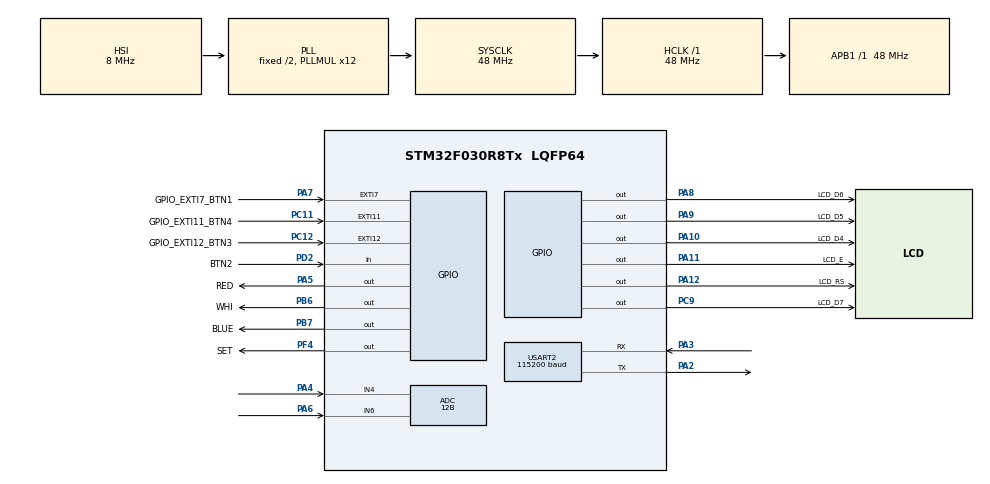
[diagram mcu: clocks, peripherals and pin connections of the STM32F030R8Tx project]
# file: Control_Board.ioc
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ADC.ClockPrescaler=ADC_CLOCK_ASYNC_DIV1
ADC.ContinuousConvMode=ENABLE
ADC.DMAContinuousRequests=ENABLE
ADC.DataAlign=ADC_DATAALIGN_RIGHT
ADC.DiscontinuousConvMode=DISABLE
ADC.EOCSelection=ADC_EOC_SINGLE_CONV
ADC.EnableAnalogWatchDog=false
ADC.ExternalTrigConv=ADC_SOFTWARE_START
ADC.ExternalTrigConvEdge=ADC_EXTERNALTRIGCONVEDGE_NONE
ADC.LowPowerAutoPowerOff=DISABLE
ADC.LowPowerAutoWait=DISABLE
ADC.Overrun=ADC_OVR_DATA_PRESERVED
ADC.Resolution=ADC_RESOLUTION_12B
ADC.SamplingTime=ADC_SAMPLETIME_239CYCLES_5
ADC.ScanConvMode=ADC_SCAN_DIRECTION_FORWARD
CRC.InputDataFormat=CRC_INPUTDATA_FORMAT_WORDS
Dma.ADC.1.Direction=DMA_PERIPH_TO_MEMORY
Dma.ADC.1.Instance=DMA1_Channel1
Dma.ADC.1.MemDataAlignment=DMA_MDATAALIGN_HALFWORD
Dma.ADC.1.MemInc=DMA_MINC_ENABLE
Dma.ADC.1.Mode=DMA_CIRCULAR
Dma.ADC.1.PeriphDataAlignment=DMA_PDATAALIGN_HALFWORD
Dma.ADC.1.PeriphInc=DMA_PINC_DISABLE
Dma.ADC.1.Priority=DMA_PRIORITY_LOW
Dma.Request0=USART2_RX
Dma.Request1=ADC
Dma.USART2_RX.0.Direction=DMA_PERIPH_TO_MEMORY
Dma.USART2_RX.0.Instance=DMA1_Channel5
Dma.USART2_RX.0.MemDataAlignment=DMA_MDATAALIGN_BYTE
Dma.USART2_RX.0.MemInc=DMA_MINC_ENABLE
Dma.USART2_RX.0.Mode=DMA_CIRCULAR
Dma.USART2_RX.0.PeriphDataAlignment=DMA_PDATAALIGN_BYTE
Dma.USART2_RX.0.PeriphInc=DMA_PINC_DISABLE
Dma.USART2_RX.0.Priority=DMA_PRIORITY_LOW
FREERTOS.Tasks01=MainTask,0,128,StartMainTask,Default
Mcu.Family=STM32F0
Mcu.Name=STM32F030R8Tx
Mcu.Package=LQFP64
NVIC.ADC1_IRQn=true\:3\:0\:false\:false\:true\:true\:true
NVIC.DMA1_Channel1_IRQn=true\:3\:0\:false\:false\:true\:true\:true
NVIC.DMA1_Channel4_5_IRQn=true\:3\:0\:false\:false\:true\:true\:true
NVIC.TIM17_IRQn=true\:0\:0\:false\:false\:true\:false\:true
NVIC.TimeBase=TIM17_IRQn
NVIC.TimeBaseIP=TIM17
NVIC.USART2_IRQn=true\:3\:0\:false\:false\:true\:true\:true
PA10.GPIO_Label=LCD_D4
PA10.Signal=GPIO_Output
PA11.GPIO_Label=LCD_E
PA11.Signal=GPIO_Output
PA12.GPIO_Label=LCD_RS
PA12.Signal=GPIO_Output
PA13.Mode=Serial_Wire
PA13.Signal=SYS_SWDIO
PA14.Mode=Serial_Wire
PA14.Signal=SYS_SWCLK
PA2.Mode=Asynchronous
PA2.Signal=USART2_TX
PA3.Mode=Asynchronous
PA3.Signal=USART2_RX
PA4.Mode=IN4
PA4.Signal=ADC_IN4
PA5.GPIO_Label=RED
PA5.Signal=GPIO_Output
PA6.Mode=IN6
PA6.Signal=ADC_IN6
PA7.GPIO_Label=GPIO_EXTI7_BTN1
PA7.Signal=GPXTI7
PA8.GPIO_Label=LCD_D6
PA8.Signal=GPIO_Output
PA9.GPIO_Label=LCD_D5
PA9.Signal=GPIO_Output
PB6.GPIO_Label=WHI
PB6.Signal=GPIO_Output
PB7.GPIO_Label=BLUE
PB7.Signal=GPIO_Output
PC11.GPIO_Label=GPIO_EXTI11_BTN4
PC11.Signal=GPXTI11
PC12.GPIO_Label=GPIO_EXTI12_BTN3
PC12.Signal=GPXTI12
PC9.GPIO_Label=LCD_D7
PC9.Signal=GPIO_Output
PD2.GPIO_Label=BTN2
PD2.Signal=GPIO_Input
PF0-OSC_IN.Mode=HSE-External-Oscillator
PF0-OSC_IN.Signal=RCC_OSC_IN
PF1-OSC_OUT.Mode=HSE-External-Oscillator
PF1-OSC_OUT.Signal=RCC_OSC_OUT
PF4.GPIO_Label=SET
PF4.Signal=GPIO_Output
ProjectManager.HeapSize=0x200
ProjectManager.StackSize=0x400
ProjectManager.TargetToolchain=SW4STM32
RCC.AHBFreq_Value=48000000
RCC.APB1Freq_Value=48000000
RCC.APB1TimFreq_Value=48000000
RCC.HCLKFreq_Value=48000000
RCC.PLLMUL=RCC_PLL_MUL12
RCC.SYSCLKFreq_VALUE=48000000
RCC.SYSCLKSource=RCC_SYSCLKSOURCE_PLLCLK
USART2.BaudRate=115200
USART2.VirtualMode-Asynchronous=VM_ASYNC
VP_CRC_VS_CRC.Mode=CRC_Activate
VP_FREERTOS_VS_ENABLE.Mode=Enabled
VP_SYS_VS_tim17.Mode=TIM17
board=Control_Board

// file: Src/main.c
/**
  ******************************************************************************
  * File Name          : main.c
  * Description        : Main program body
  ******************************************************************************
  *
  * Copyright (c) 2017 STMicroelectronics International N.V.
  * All rights reserved.
  *
  * Redistribution and use in source and binary forms, with or without
  * modification, are permitted, provided that the following conditions are met:
  *
  * 1. Redistribution of source code must retain the above copyright notice,
  *    this list of conditions and the following disclaimer.
  * 2. Redistributions in binary form must reproduce the above copyright notice,
  *    this list of conditions and the following disclaimer in the documentation
  *    and/or other materials provided with the distribution.
  * 3. Neither the name of STMicroelectronics nor the names of other
  *    contributors to this software may be used to endorse or promote products
  *    derived from this software without specific written permission.
  * 4. This software, including modifications and/or derivative works of this
  *    software, must execute solely and exclusively on microcontroller or
  *    microprocessor devices manufactured by or for STMicroelectronics.
  * 5. Redistribution and use of this software other than as permitted under
  *    this license is void and will automatically terminate your rights under
  *    this license.
  *
  * THIS SOFTWARE IS PROVIDED BY STMICROELECTRONICS AND CONTRIBUTORS "AS IS"
  * AND ANY EXPRESS, IMPLIED OR STATUTORY WARRANTIES, INCLUDING, BUT NOT
  * LIMITED TO, THE IMPLIED WARRANTIES OF MERCHANTABILITY, FITNESS FOR A
  * PARTICULAR PURPOSE AND NON-INFRINGEMENT OF THIRD PARTY INTELLECTUAL PROPERTY
  * RIGHTS ARE DISCLAIMED TO THE FULLEST EXTENT PERMITTED BY LAW. IN NO EVENT
  * SHALL STMICROELECTRONICS OR CONTRIBUTORS BE LIABLE FOR ANY DIRECT, INDIRECT,
  * INCIDENTAL, SPECIAL, EXEMPLARY, OR CONSEQUENTIAL DAMAGES (INCLUDING, BUT NOT
  * LIMITED TO, PROCUREMENT OF SUBSTITUTE GOODS OR SERVICES; LOSS OF USE, DATA,
  * OR PROFITS; OR BUSINESS INTERRUPTION) HOWEVER CAUSED AND ON ANY THEORY OF
  * LIABILITY, WHETHER IN CONTRACT, STRICT LIABILITY, OR TORT (INCLUDING
  * NEGLIGENCE OR OTHERWISE) ARISING IN ANY WAY OUT OF THE USE OF THIS SOFTWARE,
  * EVEN IF ADVISED OF THE POSSIBILITY OF SUCH DAMAGE.
  *
  ******************************************************************************
  */
#include "main.h"
#include "stm32f0xx_hal.h"
#include "cmsis_os.h"
#include "adc.h"
#include "crc.h"
#include "dma.h"
#include "usart.h"
#include "gpio.h"

/* USER CODE BEGIN Includes */
//LCD display library
#include "My_code/tm_stm32_hd44780.h"
/* USER CODE END Includes */

/* USER CODE BEGIN PV */
/* Private variables ---------------------------------------------------------*/

//frame buffer for USART DMA
union FrameBuffer{
	char byte[76];
	uint32_t word[19];
};

//Custom Caracter for LCD display
uint8_t customChar[] = {
	0x1F,	/*  xxx 11111 */
	0x11,	/*  xxx 10001 */
	0x11,	/*  xxx 10001 */
	0x11,	/*  xxx 10001 */
	0x11,	/*  xxx 10001 */
	0x11,	/*  xxx 10001 */
	0x11,	/*  xxx 10001 */
	0x1F	/*  xxx 11111 */
};

volatile union FrameBuffer FrameBuffer;
volatile union InputFrame InputFrame;

volatile char Input_Buffer[40] = {0};
volatile uint8_t Input_Buffer_counter=0;

volatile uint8_t TransmissionError = 0;

extern ADC_HandleTypeDef hadc;

//volatile uint16_t ADC_read[4] = {0};

volatile union ADC_read{
	struct Axis{
		uint16_t X_axis;
		uint16_t Y_axis;
	}Axis;
	uint16_t XY_Axis[2];
};

uint8_t Run_communication = 0;
uint8_t comm_running = 0;
uint8_t timeout_counter = 0;
volatile uint8_t timeout_event = 0;

/* USER CODE END PV */

void SystemClock_Config(void);
void Error_Handler(void);
void MX_FREERTOS_Init(void);

/* USER CODE BEGIN PFP */
/* Private function prototypes -----------------------------------------------*/
void HD44780_Init(void);

/* USER CODE END PFP */

int main(void)
{

  /* USER CODE BEGIN 1 */
	union ADC_read XY_Axis;

  /* USER CODE END 1 */

  /* MCU Configuration----------------------------------------------------------*/

  /* Reset of all peripherals, Initializes the Flash interface and the Systick. */
  HAL_Init();

  /* Configure the system clock */
  SystemClock_Config();

  /* Initialize all configured peripherals */
  MX_GPIO_Init();
  MX_DMA_Init();
  MX_CRC_Init();
  MX_USART2_UART_Init();
  MX_ADC_Init();

  /* USER CODE BEGIN 2 */
  Timeout_TIM16_Init();
  //configure DMA for USART2 Rx
	hdma_usart2_rx.Instance = DMA1_Channel5;
	hdma_usart2_rx.Init.Direction = DMA_PERIPH_TO_MEMORY;
	hdma_usart2_rx.Init.PeriphInc = DMA_PINC_DISABLE;
	hdma_usart2_rx.Init.MemInc = DMA_MINC_ENABLE;
	hdma_usart2_rx.Init.PeriphDataAlignment = DMA_PDATAALIGN_BYTE;
	hdma_usart2_rx.Init.MemDataAlignment = DMA_MDATAALIGN_BYTE;
	hdma_usart2_rx.Init.Mode = DMA_CIRCULAR;
	hdma_usart2_rx.Init.Priority = DMA_PRIORITY_LOW; // in future check if needs to be changed
	HAL_DMA_Init(&hdma_usart2_rx);

	// required link function
	__HAL_LINKDMA(&huart2, hdmarx, hdma_usart2_rx);
	HAL_UART_Receive_DMA(&huart2, &InputFrame.byte, 8);

  //launch UART receive
  //HAL_UART_Receive_IT(&huart2,InputFrame.byte,8);

  char znak = 33;
  int i=0;

  for(i=0; i<72; i++)
  {
	  FrameBuffer.byte[i]=znak;
	  znak++;
  }

  CRC->CR |= CRC_CR_RESET;
  for(i=0; i<18; i++)
  {
	  CRC->DR = FrameBuffer.word[i];
  }

  uint32_t crc = CRC->DR;
  FrameBuffer.word[18]=crc;

  //HAL_UART_Transmit(&huart2,FrameBuffer.word,8,5000);
  TIM16->CR1 |= TIM_CR1_CEN;
  uint8_t counter = 0;
  uint8_t message_counter = 0;

 // HAL_ADC_Start_IT for two ADC channels
  HAL_ADC_Start_DMA(&hadc,(uint32_t *)XY_Axis.XY_Axis,2);
  //HAL_ADC_Start(&hadc);

  HD44780_Init();

  /* USER CODE END 2 */

  /* Call init function for freertos objects (in freertos.c) */
  MX_FREERTOS_Init();

  /* Start scheduler */
  osKernelStart();

  /* We should never get here as control is now taken by the scheduler */

  /* Infinite loop */
  /* USER CODE BEGIN WHILE */
  while (1)
  {
	 // HAL_Delay(200);
	  //uint16_t dummy[4];
	  //dummy[0]=ADC_read[0];
	  //dummy[1]=ADC_read[1];
	  //dummy[2]=ADC_read[2];
	  //dummy[3]=ADC_read[3];
	  //HAL_Delay(400);
	  //HAL_UART_Transmit(&huart2,dummy,8,5000);
	 // char end[2] = {'\r','\n'};
	  //HAL_UART_Transmit(&huart2,end,2,5000);
  /* USER CODE END WHILE */

  /* USER CODE BEGIN 3 */
//	  if(!HAL_GPIO_ReadPin(GPIOC, GPIO_PIN_13))
//	  {
//		  counter++;
//		  if(counter > 12)
//		  {
//			  if(1 == message_counter) // second message will be faulty
//			  {
//				  HAL_UART_Transmit(&huart2,FrameBuffer.word,75,5000);
//			  }
//			  else
//			  {
//				  HAL_UART_Transmit(&huart2,FrameBuffer.word,76,5000);
//				  counter=0;
//				  if(4 == message_counter)
//				  {
//					  message_counter = 0;
//				  }
//			  }
//			  message_counter++;
//			  //now play dead
//			  HAL_Delay(230);
//		  }
//	  }
//	  else
//	  {
//		  counter=0;
//	  }
//	  if(10 == message_counter)
//	  {
//		  HAL_UART_Transmit(&huart2,FrameBuffer.word,72,5000);
//	  }
//	  else
//	  {
//		  if(1 == TransmissionError)
//		  {
//			  HAL_Delay(250);
//			  TransmissionError = 0;
//		  }
//		  HAL_UART_Transmit(&huart2,FrameBuffer.word,76,5000);
//		  //counter=0;
//		  if(20 == message_counter)
//		  {
//			  message_counter = 0;
//		  }
//	  }
//	  message_counter++;
//	  HAL_Delay(10);

  }
  /* USER CODE END 3 */

}

/** System Clock Configuration
*/
void SystemClock_Config(void)
{

  RCC_OscInitTypeDef RCC_OscInitStruct;
  RCC_ClkInitTypeDef RCC_ClkInitStruct;

    /**Initializes the CPU, AHB and APB busses clocks
    */
  RCC_OscInitStruct.OscillatorType = RCC_OSCILLATORTYPE_HSI|RCC_OSCILLATORTYPE_HSI14;
  RCC_OscInitStruct.HSIState = RCC_HSI_ON;
  RCC_OscInitStruct.HSI14State = RCC_HSI14_ON;
  RCC_OscInitStruct.HSICalibrationValue = 16;
  RCC_OscInitStruct.HSI14CalibrationValue = 16;
  RCC_OscInitStruct.PLL.PLLState = RCC_PLL_ON;
  RCC_OscInitStruct.PLL.PLLSource = RCC_PLLSOURCE_HSI;
  RCC_OscInitStruct.PLL.PLLMUL = RCC_PLL_MUL12;
  RCC_OscInitStruct.PLL.PREDIV = RCC_PREDIV_DIV1;
  if (HAL_RCC_OscConfig(&RCC_OscInitStruct) != HAL_OK)
  {
    Error_Handler();
  }

    /**Initializes the CPU, AHB and APB busses clocks
    */
  RCC_ClkInitStruct.ClockType = RCC_CLOCKTYPE_HCLK|RCC_CLOCKTYPE_SYSCLK
                              |RCC_CLOCKTYPE_PCLK1;
  RCC_ClkInitStruct.SYSCLKSource = RCC_SYSCLKSOURCE_PLLCLK;
  RCC_ClkInitStruct.AHBCLKDivider = RCC_SYSCLK_DIV1;
  RCC_ClkInitStruct.APB1CLKDivider = RCC_HCLK_DIV1;

  if (HAL_RCC_ClockConfig(&RCC_ClkInitStruct, FLASH_LATENCY_1) != HAL_OK)
  {
    Error_Handler();
  }

    /**Configure the Systick interrupt time
    */
  HAL_SYSTICK_Config(HAL_RCC_GetHCLKFreq()/1000);

    /**Configure the Systick
    */
  HAL_SYSTICK_CLKSourceConfig(SYSTICK_CLKSOURCE_HCLK);

  /* SysTick_IRQn interrupt configuration */
  HAL_NVIC_SetPriority(SysTick_IRQn, 3, 0);
}

/* USER CODE BEGIN 4 */

void HD44780_Init(void)
{
	TM_HD44780_Init(20, 4);

		/* Save custom character on location 0 in LCD */
		TM_HD44780_CreateChar(0, customChar);

		/* Put string to LCD */
		TM_HD44780_Puts(0, 0, "STM32F4/7-Disco/Eval");
		TM_HD44780_Puts(2, 1, "20x4 HD44780 LCD");
		TM_HD44780_Puts(0, 2, "stm32f4-\n\r       discovery.com");

		/* Wait a little */
		//Delayms(3000);

		/* Clear LCD */
		TM_HD44780_Clear();

		/* Show cursor */
		TM_HD44780_CursorOn();

		/* Write new text */
		TM_HD44780_Puts(6, 2, "CLEARED!");

		/* Wait a little */
		//Delayms(1000);

		/* Enable cursor blinking */
		TM_HD44780_BlinkOn();

		/* Show custom character at x = 1, y = 2 from RAM location 0 */
		//TM_HD44780_PutCustom(1, 2, 0);
}

/* USER CODE END 4 */

void HAL_TIM_PeriodElapsedCallback(TIM_HandleTypeDef *htim)
{
  if (htim->Instance == TIM17) {
    HAL_IncTick();
  }
}

void Error_Handler(void)
{
  while(1)
  {
  }
}

/************************ (C) COPYRIGHT STMicroelectronics *****END OF FILE****/

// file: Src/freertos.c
/**
  ******************************************************************************
  * File Name          : freertos.c
  * Description        : Code for freertos applications
  ******************************************************************************
  *
  * Copyright (c) 2017 STMicroelectronics International N.V.
  * All rights reserved.
  *
  * Redistribution and use in source and binary forms, with or without
  * modification, are permitted, provided that the following conditions are met:
  *
  * 1. Redistribution of source code must retain the above copyright notice,
  *    this list of conditions and the following disclaimer.
  * 2. Redistributions in binary form must reproduce the above copyright notice,
  *    this list of conditions and the following disclaimer in the documentation
  *    and/or other materials provided with the distribution.
  * 3. Neither the name of STMicroelectronics nor the names of other
  *    contributors to this software may be used to endorse or promote products
  *    derived from this software without specific written permission.
  * 4. This software, including modifications and/or derivative works of this
  *    software, must execute solely and exclusively on microcontroller or
  *    microprocessor devices manufactured by or for STMicroelectronics.
  * 5. Redistribution and use of this software other than as permitted under
  *    this license is void and will automatically terminate your rights under
  *    this license.
  *
  * THIS SOFTWARE IS PROVIDED BY STMICROELECTRONICS AND CONTRIBUTORS "AS IS"
  * AND ANY EXPRESS, IMPLIED OR STATUTORY WARRANTIES, INCLUDING, BUT NOT
  * LIMITED TO, THE IMPLIED WARRANTIES OF MERCHANTABILITY, FITNESS FOR A
  * PARTICULAR PURPOSE AND NON-INFRINGEMENT OF THIRD PARTY INTELLECTUAL PROPERTY
  * RIGHTS ARE DISCLAIMED TO THE FULLEST EXTENT PERMITTED BY LAW. IN NO EVENT
  * SHALL STMICROELECTRONICS OR CONTRIBUTORS BE LIABLE FOR ANY DIRECT, INDIRECT,
  * INCIDENTAL, SPECIAL, EXEMPLARY, OR CONSEQUENTIAL DAMAGES (INCLUDING, BUT NOT
  * LIMITED TO, PROCUREMENT OF SUBSTITUTE GOODS OR SERVICES; LOSS OF USE, DATA,
  * OR PROFITS; OR BUSINESS INTERRUPTION) HOWEVER CAUSED AND ON ANY THEORY OF
  * LIABILITY, WHETHER IN CONTRACT, STRICT LIABILITY, OR TORT (INCLUDING
  * NEGLIGENCE OR OTHERWISE) ARISING IN ANY WAY OUT OF THE USE OF THIS SOFTWARE,
  * EVEN IF ADVISED OF THE POSSIBILITY OF SUCH DAMAGE.
  *
  ******************************************************************************
  */

#include "FreeRTOS.h"
#include "task.h"
#include "cmsis_os.h"

/* USER CODE BEGIN Includes */
#include "gpio.h"
#include "usart.h"

/* USER CODE END Includes */

osThreadId MainTaskHandle;

/* USER CODE BEGIN Variables */
extern uint8_t Run_communication;
extern uint8_t comm_running;
extern uint8_t timeout_counter;
extern volatile uint8_t timeout_event;

extern volatile union FrameBuffer FrameBuffer;

union FrameBuffer{
	char byte[76];
	uint32_t word[19];
};

extern volatile uint16_t ADC_read[];

/* USER CODE END Variables */

void StartMainTask(void const * argument);

void MX_FREERTOS_Init(void); /* (MISRA C 2004 rule 8.1) */

/* Hook prototypes */

/* Init FreeRTOS */

void MX_FREERTOS_Init(void) {

  /* Create the thread(s) */
  /* definition and creation of MainTask */
  osThreadDef(MainTask, StartMainTask, osPriorityNormal, 0, 128);
  MainTaskHandle = osThreadCreate(osThread(MainTask), NULL);

}

/* StartMainTask function */
void StartMainTask(void const * argument)
{

	/* USER CODE BEGIN StartMainTask */
	uint8_t button_loop_counter = 0;
	/* Infinite loop */
	for(;;)
	{
		if(0 == Run_communication)// if transmission is launched, ignore the button
		{
			if(0 == HAL_GPIO_ReadPin(GPIOC, GPIO_PIN_13))// wait for button press to launch transmission
			{
				button_loop_counter++;
				if(button_loop_counter >= 170)
				{
					Run_communication = 1;
					HAL_GPIO_WritePin(GPIOA, GPIO_PIN_5,GPIO_PIN_RESET);
					timeout_counter=0;
				}
			}
			else
			{
				button_loop_counter = 0;
			}
		}
		else
		{
			if(0 == comm_running) //if there is no ongoing transmission or timeout was reached, send next frame
			{
				FrameBuffer.byte[0] = ADC_read[0];
				FrameBuffer.byte[1] = ADC_read[1];
				FrameBuffer.byte[2] = ADC_read[2];
				FrameBuffer.byte[3] = ADC_read[3];
				  CRC->CR |= CRC_CR_RESET;
				  for(uint8_t i=0; i<18; i++)
				  {
					  CRC->DR = FrameBuffer.word[i];
				  }
				  uint32_t crc = CRC->DR;
				  FrameBuffer.word[18]=crc;
				HAL_UART_Transmit_IT(&huart2,FrameBuffer.word,76); //transmit frame with CRC
				Timeout_start(); //start transmission timeout
				comm_running = 1; //indicate that transmission routine is running
				osDelay(40);
			}
			else
			{
				//comm is running, wait for ACK or timeout
				if(1 == timeout_event) //timeout event occured
				{
					if(timeout_counter >= 10) //too many timeouts, wait for manual start. Flash an LED
					{
						comm_running = 0;
						Run_communication = 0; //enable launching transmission using user button
						timeout_event = 0; //reset the event flag
						HAL_GPIO_WritePin(GPIOA, GPIO_PIN_5,GPIO_PIN_SET);

					}
					else
					{
						//this is simple timeout with no ACK or ERR
						//send another frame
						timeout_event = 0; //reset the event flag
						comm_running = 0;
					}
				}
			}
		}
		osDelay(1);
	}
	/* USER CODE END StartMainTask */
}

/************************ (C) COPYRIGHT STMicroelectronics *****END OF FILE****/
